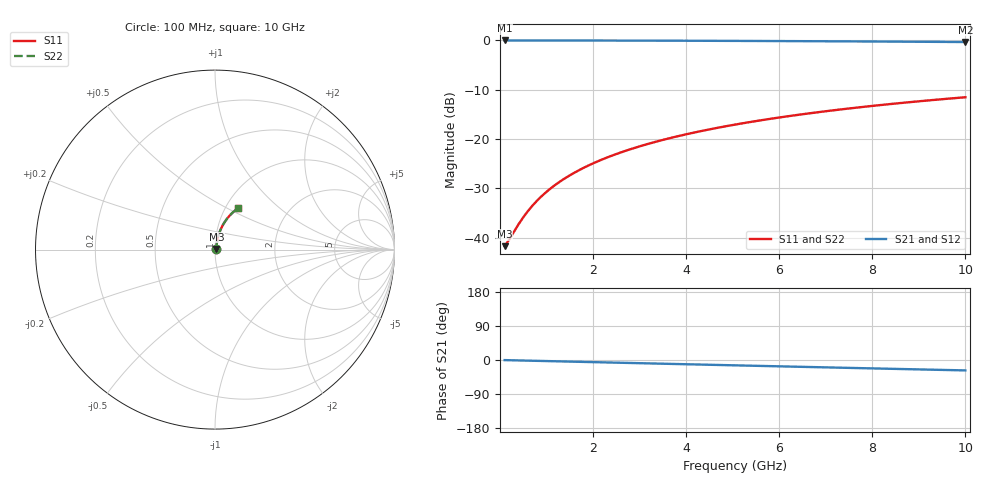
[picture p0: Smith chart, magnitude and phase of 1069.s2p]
# Hz S RI R 50.00
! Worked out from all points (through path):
!   100 points, 100 MHz to 10 GHz, reference 50 ohm
!   highest |S21| = -0.07 dB at 100 MHz (marker M1); lowest = -0.4 dB at 10 GHz (marker M2)
!   group delay of S21, straight-line fit = 7.64 ps
!   lowest |S11| = -41.7 dB at 100 MHz (marker M3), VSWR 1.02, Z = 50.8 + j0.281 ohm
!   |S11| at or under -10 dB: start of sweep to end of sweep
!   |S22| runs from -41.7 to -11.6 dB; largest |S21 - S12| = 0
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1e8  0.00772 0.00277  0.9923 -0.00486  0.9923 -0.00486  0.00772 0.00277
2e8  0.00782 0.00553  0.9922 -0.00972  0.9922 -0.00972  0.00782 0.00553
4e8  0.00804 0.0111  0.9919 -0.0194  0.9919 -0.0194  0.00804 0.0111
5e8  0.00819 0.0138  0.9917 -0.0243  0.9917 -0.0243  0.00819 0.0138
6e8  0.00836 0.0166  0.9915 -0.0291  0.9915 -0.0291  0.00836 0.0166
7e8  0.00856 0.0193  0.9913 -0.034  0.9913 -0.034  0.00856 0.0193
8e8  0.00878 0.0221  0.9911 -0.0389  0.9911 -0.0389  0.00878 0.0221
1e9  0.0093 0.0276  0.9905 -0.0485  0.9905 -0.0485  0.0093 0.0276
1.2e9  0.00992 0.0331  0.9897 -0.0582  0.9897 -0.0582  0.00992 0.0331
1.5e9  0.0111 0.0413  0.9884 -0.0727  0.9884 -0.0727  0.0111 0.0413
1.8e9  0.0124 0.0495  0.9868 -0.0872  0.9868 -0.0872  0.0124 0.0495
2.1e9  0.014 0.0576  0.985 -0.1016  0.985 -0.1016  0.014 0.0576
2.5e9  0.0165 0.0683  0.9821 -0.1207  0.9821 -0.1207  0.0165 0.0683
2.9e9  0.0194 0.0789  0.9787 -0.1397  0.9787 -0.1397  0.0194 0.0789
3.4e9  0.0236 0.092  0.9737 -0.1633  0.9737 -0.1633  0.0236 0.092
4.2e9  0.0316 0.1123  0.9644 -0.2004  0.9644 -0.2004  0.0316 0.1123
5.1e9  0.0424 0.1343  0.9517 -0.2414  0.9517 -0.2414  0.0424 0.1343
5.9e9  0.0536 0.1529  0.9386 -0.2768  0.9386 -0.2768  0.0536 0.1529
6.7e9  0.066 0.1705  0.9239 -0.3113  0.9239 -0.3113  0.066 0.1705
7.5e9  0.0796 0.187  0.9077 -0.3447  0.9077 -0.3447  0.0796 0.187
8.4e9  0.0963 0.2041  0.8878 -0.3809  0.8878 -0.3809  0.0963 0.2041
1e10  0.1288 0.2305  0.8485 -0.4412  0.8485 -0.4412  0.1288 0.2305
